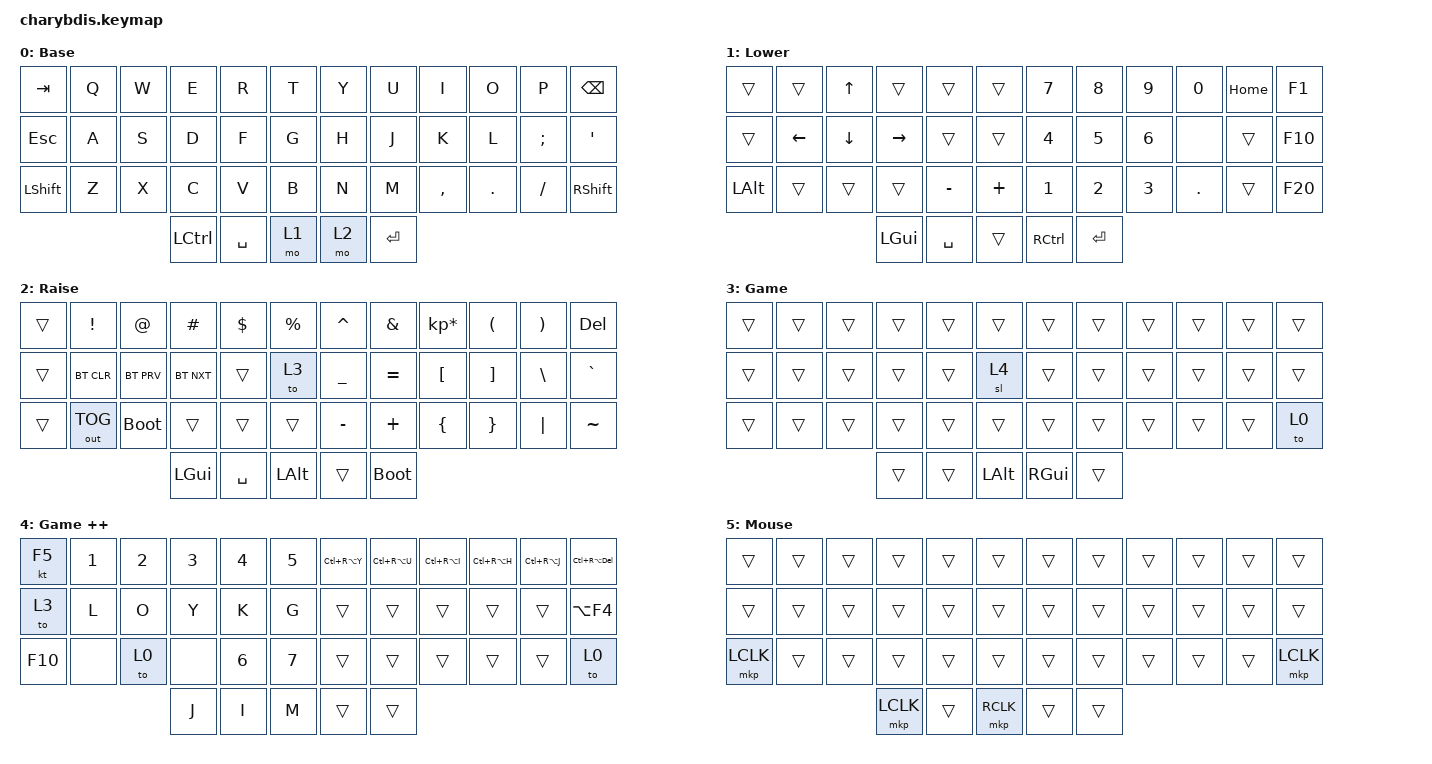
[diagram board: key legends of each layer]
#include <behaviors.dtsi>
#include <dt-bindings/zmk/keys.h>
#include <dt-bindings/zmk/bt.h>
#include <dt-bindings/zmk/ext_power.h>
#include <dt-bindings/zmk/mouse.h>
#include <dt-bindings/zmk/outputs.h>

/ {
    trackball_listener {
        compatible = "zmk,input-behavior-listener";
        device = <&vtrackball>;
        layers = <0 2 3 4 5>;
        evt-type = <INPUT_EV_REL>;
        x-input-code = <INPUT_REL_X>;
        y-input-code = <INPUT_REL_Y>;
        scale-multiplier = <1>;
        scale-divisor = <4>;
        bindings = <&ib_toggle_layer 5>;
    };

    trackball_snipe_listener {
        compatible = "zmk,input-behavior-listener";
        device = <&vtrackball>;
        layers = <>;
        evt-type = <INPUT_EV_REL>;
        x-input-code = <INPUT_REL_X>;
        y-input-code = <INPUT_REL_Y>;
        scale-multiplier = <1>;
        scale-divisor = <12>;
    };

    trackball_scroll_listener {
        compatible = "zmk,input-behavior-listener";
        device = <&vtrackball>;
        layers = <1>;
        evt-type = <INPUT_EV_REL>;
        x-input-code = <INPUT_REL_MISC>;
        y-input-code = <INPUT_REL_WHEEL>;
        y-invert;
        bindings = <&ib_wheel_scaler 1 16>;
    };

    ib_wheel_scaler: ib_wheel_scaler {
        compatible = "zmk,input-behavior-scaler";
        #binding-cells = <2>;
        evt-type = <INPUT_EV_REL>;
        input-code = <INPUT_REL_WHEEL>;
    };

    ib_toggle_layer: ib_toggle_layer {
        compatible = "zmk,input-behavior-tog-layer";
        #binding-cells = <1>;
        time-to-live-ms = <750>;
    };

    behaviors {
        lt: layer_tap {
            compatible = "zmk,behavior-hold-tap";
            #binding-cells = <2>;
            flavor = "balanced";
            tapping-term-ms = <240>;
            quick-tap-ms = <150>;
            bindings = <&mo>, <&kp>;
        };
    };

    keymap {
        compatible = "zmk,keymap";

        Base {
            label = "Base";
            bindings = <
&kp TAB    &kp Q  &kp W  &kp E      &kp R      &kp T    &kp Y  &kp U    &kp I      &kp O    &kp P     &kp BSPC
&kp ESC    &kp A  &kp S  &kp D      &kp F      &kp G    &kp H  &kp J    &kp K      &kp L    &kp SEMI  &kp APOS
&kp LSHFT  &kp Z  &kp X  &kp C      &kp V      &kp B    &kp N  &kp M    &kp COMMA  &kp DOT  &kp FSLH  &kp RSHIFT
                         &kp LCTRL  &kp SPACE  &mo 1    &mo 2  &kp RET
            >;
        };

        Lower {
            label = "Lower";
            bindings = <
&trans        &trans    &kp UP    &trans     &trans     &trans      &kp N7     &kp N8   &kp N9  &kp N0   &kp HOME  &kp F1
&trans        &kp LEFT  &kp DOWN  &kp RIGHT  &trans     &trans      &kp N4     &kp N5   &kp N6  &none    &trans    &kp F10
&kp LEFT_ALT  &trans    &trans    &trans     &kp MINUS  &kp PLUS    &kp N1     &kp N2   &kp N3  &kp DOT  &trans    &kp F20
                                  &kp LGUI   &kp SPACE  &trans      &kp RCTRL  &kp RET
            >;
        };

        Raise {
            label = "Raise";
            bindings = <
&trans  &kp EXCL      &kp AT       &kp HASH    &kp DLLR   &kp PRCNT       &kp CARET  &kp AMPS     &kp KP_MULTIPLY  &kp LPAR  &kp RPAR  &kp DEL
&trans  &bt BT_CLR    &bt BT_PRV   &bt BT_NXT  &trans     &to 3           &kp UNDER  &kp EQUAL    &kp LBKT         &kp RBKT  &kp BSLH  &kp GRAVE
&trans  &out OUT_TOG  &bootloader  &trans      &trans     &trans          &kp MINUS  &kp PLUS     &kp LBRC         &kp RBRC  &kp PIPE  &kp TILDE
                                   &kp LGUI    &kp SPACE  &kp LEFT_ALT    &trans     &bootloader
            >;
        };

        Game {
            label = "Game";
            bindings = <
&trans  &trans  &trans  &trans  &trans  &trans          &trans    &trans  &trans  &trans  &trans  &trans
&trans  &trans  &trans  &trans  &trans  &sl 4           &trans    &trans  &trans  &trans  &trans  &trans
&trans  &trans  &trans  &trans  &trans  &trans          &trans    &trans  &trans  &trans  &trans  &to 0
                        &trans  &trans  &kp LEFT_ALT    &kp RGUI  &trans
            >;
        };

        Game_++ {
            label = "Game ++";
            bindings = <
&kt F5   &kp NUMBER_1  &kp NUMBER_2  &kp NUMBER_3  &kp NUMBER_4  &kp NUMBER_5    &kp LC(RA(Y))  &kp LC(RA(U))  &kp LC(RA(I))  &kp LC(RA(H))  &kp LC(RA(J))  &kp LC(RA(DEL))
&to 3    &kp L         &kp O         &kp Y         &kp K         &kp G           &trans         &trans         &trans         &trans         &trans         &kp LA(F4)
&kp F10  &none         &to 0         &none         &kp NUMBER_6  &kp NUMBER_7    &trans         &trans         &trans         &trans         &trans         &to 0
                                     &kp J         &kp I         &kp M           &trans         &trans
            >;
        };

        Mouse {
            bindings = <
&trans     &trans  &trans  &trans     &trans  &trans       &trans  &trans  &trans  &trans  &trans  &trans
&trans     &trans  &trans  &trans     &trans  &trans       &trans  &trans  &trans  &trans  &trans  &trans
&mkp LCLK  &trans  &trans  &trans     &trans  &trans       &trans  &trans  &trans  &trans  &trans  &mkp LCLK
                           &mkp LCLK  &trans  &mkp RCLK    &trans  &trans
            >;
        };
    };
};
